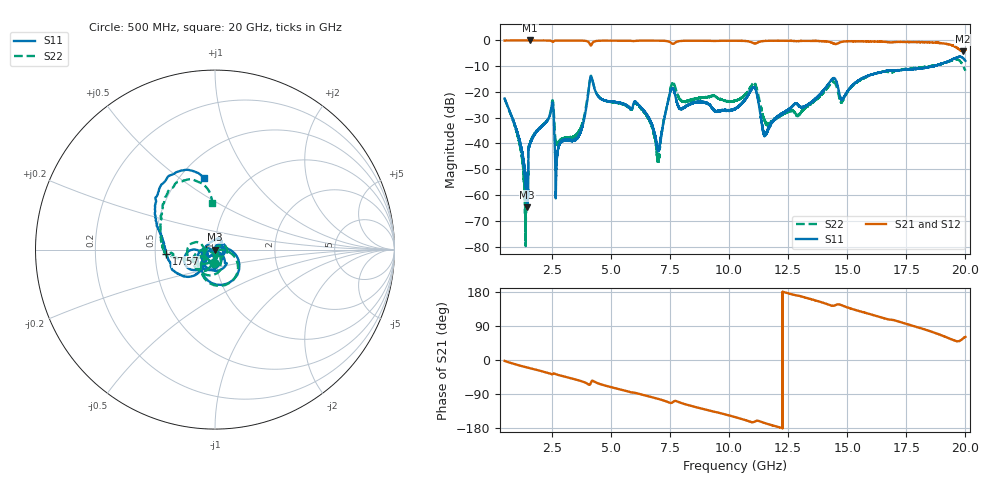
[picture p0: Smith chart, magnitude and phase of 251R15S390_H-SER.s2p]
!{251R15S390}
!Johanson Technology Inc.
!www.johansontechnology.com
!Test Board Conditions:
!Substrate Type  RO4350B
!Substrate Thickness  20 mil
!Substrate Dk  3.66
!TL Type: GCPW
!TL Trace Width  34 mil
!TL Gap  10 mil
!Electrode orientation  Horizontal
!DUT TOPOLOGY	SERIES
!Mounting Pad LxW  26x52 mil
! Created Thu Mar 12 17:13:44 2020
# mhz S ma R 50
! 2 Port Network Data from SP1.SP block
! freq  magS11  angS11  magS21  angS21  magS12  angS12  magS22  angS22
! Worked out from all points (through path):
!   19501 points, 500 MHz to 20 GHz, reference 50 ohm
!   highest |S21| = 0.00 dB at 1.585 GHz (marker M1); lowest = -4.1 dB at 19.89 GHz (marker M2)
!   group delay of S21, straight-line fit = 42.8 ps
!   lowest |S11| = -64.8 dB at 1.459 GHz (marker M3), VSWR 1.00, Z = 50 - j0.0352 ohm
!   |S11| at or under -10 dB: start of sweep to 18.62 GHz; 18.61615 GHz to 18.66155 GHz (45.4 MHz wide, 0.244 % of centre); 18.66315 GHz to 18.66459 GHz (1.436 MHz wide, 0.0077 % of centre)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
!   |S22| runs from -79.9 to -7.3 dB; largest |S21 - S12| = 0.021
!   S11 on the Smith chart (normalised r, x): 500 MHz: 0.98, -0.15; 17.57 GHz: 0.57, -0.03; 20 GHz: 0.65, +0.62
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500  0.07466 -92.7  0.9956 -2.3  0.9968 -2.3  0.07399 -93.0
1096  0.01319 -105.5  0.9982 -13.9  0.9995 -13.9  0.01156 -105.2
1360  0.002696 -102.4  0.9985 -18.2  0.9994 -18.2  0.0007898 -105.9
1459  0.0005773 -37.5  0.9989 -19.8  0.999 -19.8  0.001966 74.0
1585  0.01026 84.8  0.9998 -21.8  0.9992 -21.9  0.01053 54.4
2482  0.04963 43.8  0.9822 -37.3  0.982 -37.3  0.05208 26.8
2716  0.00551 90.9  0.9956 -38.5  0.9956 -38.4  0.009421 -15.6
3750  0.01852 37.3  0.9925 -55.9  0.9932 -56.0  0.02175 -4.4
4179  0.1954 -87.7  0.8291 -55.7  0.8282 -55.7  0.1987 -91.2
6295  0.04828 -164.9  0.9908 -91.1  0.9912 -91.1  0.04581 172.0
7000  0.007789 -104.4  0.9904 -102.7  0.9911 -102.6  0.004819 -122.9
7604  0.1188 -88.0  0.8637 -111.7  0.8638 -111.7  0.1469 -103.8
7956  0.04701 128.5  0.9768 -113.0  0.9769 -112.9  0.06937 -151.2
10250  0.04633 -17.0  0.9863 -150.6  0.9845 -150.5  0.0673 -119.9
11062  0.1232 -130.8  0.8761 -163.3  0.8765 -163.3  0.1478 -139.2
11534  0.01507 -139.3  0.9796 -166.9  0.9794 -166.9  0.02636 -143.3
13500  0.06455 -132.2  0.9805 159.9  0.9821 160.0  0.0609 -95.2
14391  0.1829 -146.8  0.8863 143.1  0.885 143.1  0.1572 -169.2
16750  0.2641 -155.8  0.9254 107.2  0.9185 106.8  0.2425 -175.5
17572  0.2731 -174.8  0.9335 93.8  0.9327 94.0  0.2836 -177.8
19892  0.4571 106.4  0.6202 56.2  0.6239 56.9  0.331 96.1
20000  0.4009 98.8  0.6507 61.1  0.6513 61.1  0.2586 93.8
